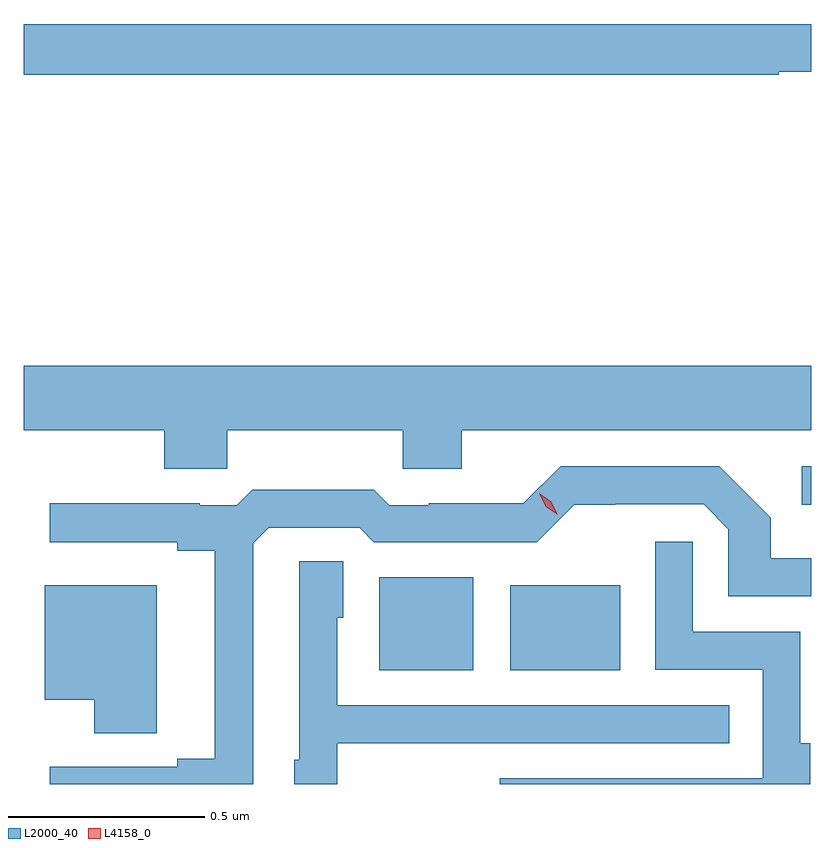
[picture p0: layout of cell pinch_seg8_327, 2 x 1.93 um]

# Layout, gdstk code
import gdstk
lib = gdstk.Library(unit=1e-6, precision=1e-09)
def R(c, l, rs):  # rectangles x0, y0, x1, y1
    for r in rs: c.add(gdstk.rectangle(r[:2], r[2:], *l))
def P(c, l, *ps):  # polygons
    for p in ps: c.add(gdstk.Polygon(p, *l))
L2000_40 = (2000, 40)
L4158_0 = (4158, 0)

pinch_seg8_327 = lib.new_cell('pinch_seg8_327')
R(pinch_seg8_327, L2000_40, [(595.331,1142.531,595.57,1142.767), (595.664,1142.531,595.942,1142.746), (596.403,1142.951,596.428,1143.048)])
P(pinch_seg8_327, L2000_40, [(596.345,1144.05),(596.428,1144.05),(596.428,1144.171),(594.428,1144.171),(594.428,1144.042),(596.345,1144.042)],
  [(594.945,1143.14),(595.39,1143.14),(595.39,1143.042),(595.54,1143.042),(595.54,1143.14),(596.428,1143.14),(596.428,1143.304),(594.428,1143.304),(594.428,1143.14),(594.785,1143.14),(594.785,1143.042),(594.945,1143.042)],
  [(595.011,1142.853),(595.05,1142.892),(595.281,1142.892),(595.317,1142.856),(595.731,1142.856),(595.826,1142.951),(595.93,1142.951),(595.93,1142.952),(596.154,1142.952),(596.217,1142.889),(596.217,1142.718),(596.428,1142.718),(596.428,1142.815),(596.325,1142.815),(596.325,1142.918),(596.194,1143.048),(595.791,1143.048),(595.697,1142.954),(595.456,1142.954),(595.456,1142.949),(595.356,1142.949),(595.317,1142.989),(595.009,1142.989),(594.969,1142.949),(594.875,1142.949),(594.875,1142.954),(594.495,1142.954),(594.495,1142.856),(594.818,1142.856),(594.818,1142.834),(594.914,1142.834),(594.914,1142.306),(594.818,1142.306),(594.818,1142.286),(594.495,1142.286),(594.495,1142.242),(595.011,1142.242)],
  [(596.425,1142.346),(596.4,1142.346),(596.4,1142.628),(596.127,1142.628),(596.127,1142.857),(596.031,1142.857),(596.031,1142.532),(596.304,1142.532),(596.304,1142.256),(595.637,1142.256),(595.637,1142.242),(596.425,1142.242)],
  [(595.224,1142.345),(595.541,1142.345),(595.541,1142.346),(596.219,1142.346),(596.219,1142.442),(595.224,1142.442),(595.224,1142.664),(595.24,1142.664),(595.24,1142.807),(595.128,1142.807),(595.128,1142.304),(595.115,1142.304),(595.115,1142.242),(595.224,1142.242)],
  [(594.766,1142.746),(594.482,1142.746),(594.482,1142.456),(594.608,1142.456),(594.608,1142.371),(594.766,1142.371)])
P(pinch_seg8_327, L4158_0, [(595.784,1142.925),(595.753,1142.946),(595.737,1142.98),(595.737,1142.98),(595.737,1142.98),(595.768,1142.959),(595.784,1142.926),(595.784,1142.925)])

lib.write_gds('pinch_seg8_327.gds')
